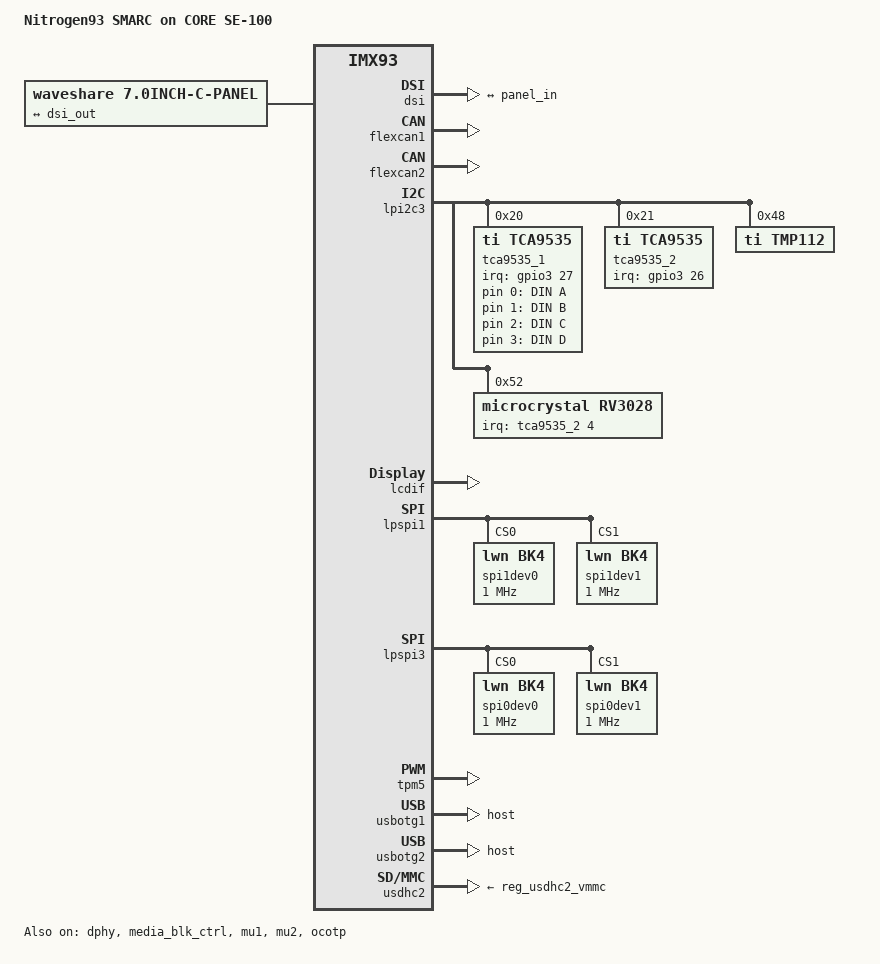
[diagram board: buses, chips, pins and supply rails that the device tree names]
// SPDX-License-Identifier: (GPL-2.0-or-later OR MIT)
/*
 * Copyright 2024 Boundary Devices
 *
 */

/dts-v1/;

#include "imx93-nitrogen-smarc.dtsi"

/ {
	model = "Nitrogen93 SMARC on CORE SE-100";
	compatible = "fsl,imx93-nitrogen-smarc", "fsl,imx93";

	aliases {
		rtc0 = &rv3028;
		rtc1 = &bbnsm_rtc;
	};

	gpio-keys {
		compatible = "gpio-keys";

		din-a {
			label = "DIN A";
			linux,code = <KEY_A>;
			gpios = <&tca9535_1 0 GPIO_ACTIVE_HIGH>;
			wakeup-source;
			debounce-interval = <10>;
		};

		din-b {
			label = "DIN B";
			linux,code = <KEY_B>;
			gpios = <&tca9535_1 1 GPIO_ACTIVE_HIGH>;
			wakeup-source;
			debounce-interval = <10>;
		};

		din-c {
			label = "DIN C";
			linux,code = <KEY_C>;
			gpios = <&tca9535_1 2 GPIO_ACTIVE_HIGH>;
			wakeup-source;
			debounce-interval = <10>;
		};

		din-d {
			label = "DIN D";
			linux,code = <KEY_D>;
			gpios = <&tca9535_1 3 GPIO_ACTIVE_HIGH>;
			wakeup-source;
			debounce-interval = <10>;
		};
	};

	panel {
		compatible = "waveshare,7.0inch-c-panel", "panel-dpi";

		port {
			panel_in: endpoint {
				remote-endpoint = <&dsi_out>;
			};
		};

		panel-timing {
			clock-frequency = <51200000>;
			hactive = <1024>;
			vactive = <600>;
			hfront-porch = <160>;
			hback-porch = <140>;
			hsync-len = <20>;
			vback-porch = <12>;
			vfront-porch = <20>;
			vsync-len = <3>;

			hsync-active = <0>;
			vsync-active = <0>;
			de-active = <1>;
			pixelclk-active = <1>;
		};
	};
};

&dphy {
	status = "okay";
};

&dsi {
	status = "okay";

	ports {
		port@1 {
			reg = <1>;
			dsi_out: endpoint {
				remote-endpoint = <&panel_in>;
			};
		};
	};
};

&flexcan1 {
	status = "okay";
};

&flexcan2 {
	status = "okay";
};

&lpi2c3 { /* SM_I2C_GP */
	status = "okay";

	tca9535_1: gpio@20 {
		compatible = "ti,tca9535";
		pinctrl-names = "default";
		pinctrl-0 = <&pinctrl_tca9535_1>;
		reg = <0x20>;
		gpio-controller;
		#gpio-cells = <2>;
		interrupt-controller;
		#interrupt-cells = <2>;
		interrupt-parent = <&gpio3>;
		interrupts = <27 IRQ_TYPE_LEVEL_LOW>;
		wakeup-source;
		gpio-line-names = "P0_0 IN1_SOM", "P0_1 IN2_SOM", "P0_2 IN3_SOM",
					"P0_3 IN4_SOM", "P0_4 DIAG_EN_1V8",
					"P0_5 RS485_TERMTX", "P0_6 RS485_TERMRX",
					"P0_7 RS485_SLR",
					"P1_0 OUT4_EN_1V8", "P1_1 OUT3_EN_1V8",
					"P1_2 OUT2_EN_1V8", "P1_3 OUT1_EN_1V8",
					"P1_4 ST4_1V8", "P1_5 ST3_1V8",
					"P1_6 ST2_1V8", "P1_7 ST1_1V8";
	};

	tca9535_2: gpio@21 {
		compatible = "ti,tca9535";
		pinctrl-names = "default";
		pinctrl-0 = <&pinctrl_tca9535_2>;
		reg = <0x21>;
		gpio-controller;
		#gpio-cells = <2>;
		interrupt-controller;
		#interrupt-cells = <2>;
		interrupt-parent = <&gpio3>;
		interrupts = <26 IRQ_TYPE_LEVEL_LOW>;
		wakeup-source;
		gpio-line-names = "P0_0 OE_EN", "P0_1 RS485_HF", "P0_2 RS232_ENABLE",
					"P0_3 RS232_INVALID", "P0_4 RTC_INT",
					"P0_5 TEMP_INT", "P0_6 TP49",
					"P0_7 TP50",
					"P1_0 FUSE_FLT", "P1_1 VDD5_EN",
					"P1_2 VDD33_EN", "P1_3 VDD_LTE_EN",
					"P1_4 VDD_SOM_EN", "P1_5 FUSE_SHDN",
					"P1_6 TP46", "P1_7 TP45";
	};

	tmp112: temperature@48 {
		compatible = "ti,tmp112";
		reg = <0x48>;
		//pinctrl-names = "default";
		//pinctrl-0 = <&pinctrl_tmp112>;
		//interrupt-parent = <&gpio2>; /* GPIO6 */
		//interrupts = <2 IRQ_TYPE_LEVEL_LOW>;
		//interrupt-parent = <&tca9535_2>; /* GPIO exp #2 P04 */
		//interrupts = <5 IRQ_TYPE_EDGE_FALLING>; /* pca953x only supports edge-triggered irq */
		//wakeup-source;
	};

	rv3028: rtc@52 {
		backup-switchover-dsm;
		#clock-cells = <0>;
		//pinctrl-names = "default";
		//pinctrl-0 = <&pinctrl_rv3028>;
		compatible = "microcrystal,rv3028";
		reg = <0x52>;
		interrupt-parent = <&tca9535_2>; /* GPIO exp #2 P04 */
		interrupts = <4 IRQ_TYPE_EDGE_FALLING>; /* pca953x only supports edge-triggered irq */
		//interrupt-parent = <&gpio4>;
		//interrupts = <29 IRQ_TYPE_LEVEL_LOW>; /* GPIO3 */
		wakeup-source;
	};
};

&lcdif {
	assigned-clock-rates = <484000000>, <121000000>, <400000000>, <133333333>;
	status = "okay";
};

&lpspi1 {
	status = "okay";

	spi1dev0: spi1@0 {
		reg = <0>;
		compatible = "lwn,bk4";
		spi-max-frequency = <1000000>;
	};

	spi1dev1: spi1@1 {
		reg = <1>;
		compatible = "lwn,bk4";
		spi-max-frequency = <1000000>;
	};
};

&lpspi3 {
	status = "okay";

	spi0dev0: spi0@0 {
		reg = <0>;
		compatible = "lwn,bk4";
		spi-max-frequency = <1000000>;
	};

	spi0dev1: spi0@1 {
		reg = <1>;
		compatible = "lwn,bk4";
		spi-max-frequency = <1000000>;
	};
};

&media_blk_ctrl {
	status = "okay";
};

&mu1 {
	status = "okay";
};

&mu2 {
	status = "okay";
};

&ocotp {
	status = "okay";
};

&sai3 { /* I2S0 */
	pinctrl-names = "default";
	pinctrl-0 = <&pinctrl_sai3>;
	assigned-clocks = <&clk IMX93_CLK_SAI3>;
	assigned-clock-parents = <&clk IMX93_CLK_AUDIO_PLL>;
	/* wm8962 needs MCLK 14 - 40 MHz */
	assigned-clock-rates = <24000000>;
	fsl,sai-mclk-direction-output;
	status = "disabled";
};

&tpm5 { /* DSI / DISP_PWM0 Backlight */
	status = "okay";
};

&usbotg1 { /* USB-C / LTE */
	dr_mode = "host";
	disable-over-current;
	status = "okay";
};

&usbotg2 { /* USB HUB */
	dr_mode = "host";
	disable-over-current;
	samsung,picophy-pre-emp-curr-control = <3>;
	samsung,picophy-dc-vol-level-adjust = <7>;
	status = "okay";
};

&usdhc2 { /* SDIO - SDCARD */
	vmmc-supply = <&reg_usdhc2_vmmc>;
	status = "okay";
	no-sdio;
	no-mmc;
};

&iomuxc {
	pinctrl-names = "default";
	pinctrl-0 = <&pinctrl_hog>;

	pinctrl_hog: hoggrp {
		fsl,pins = <
			MX93_PAD_CCM_CLKO3__GPIO4_IO28		0x31e /* VDD5_EN */
		>;
	};

	pinctrl_tca9535_1: tca9535-1grp {
		fsl,pins = <
			MX93_PAD_CCM_CLKO2__GPIO3_IO27				0x31e
		>;
	};

	pinctrl_tca9535_2: tca9535-2grp {
		fsl,pins = <
			MX93_PAD_CCM_CLKO1__GPIO3_IO26				0x31e
		>;
	};

	//pinctrl_rv3028: rv3028grp {
	//	fsl,pins = <
	//		MX93_PAD_CCM_CLKO4__GPIO4_IO29				0x31e
	//	>;
	//};
};
